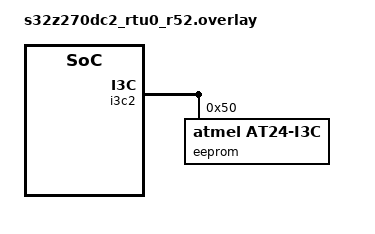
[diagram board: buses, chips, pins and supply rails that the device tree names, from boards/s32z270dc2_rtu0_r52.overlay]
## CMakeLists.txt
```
# Copyright 2022 NXP
#
# SPDX-License-Identifier: Apache-2.0
#

cmake_minimum_required(VERSION 3.20.0)

find_package(Zephyr REQUIRED HINTS $ENV{ZEPHYR_BASE})
project(i3c_at24c01_eeprom)

target_sources(app PRIVATE src/main.c)
```

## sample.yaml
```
# Copyright 2022 NXP
# SPDX-License-Identifier: Apache-2.0

sample:
  name: Sample for communitcate Microchip AT24C01C-XHM EEPROM through I3C driver.
tests:
  sample.boards.nxp_s32.i3c.at24c01c.eeprom:
    tags: i3c
    platform_allow: s32z270dc2_rtu0_r52 s32z270dc2_rtu1_r52
    harness: console
    harness_config:
        type: one_line
        regex:
            - "EEPROM read/write successful"
```

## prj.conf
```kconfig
# Copyright 2022 NXP
#
# SPDX-License-Identifier: Apache-2.0
#

CONFIG_I3C=y
```

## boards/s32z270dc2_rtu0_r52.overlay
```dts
/*
 * Copyright 2022 NXP
 *
 * SPDX-License-Identifier: Apache-2.0
 */

/* Pins 3 and 5, 4 and 6 of J32 must be connected on the board */
&pinctrl {
	i3c2_default: i3c2_default {
		group1 {
			pinmux = <(PJ11_I3C_2_SDA0_I | PJ11_I3C_2_SDA0_O)>,
				<(PJ10_I3C_2_SCL_I | PJ10_I3C_2_SCL_O)>;
			input-enable;
			output-enable;
			drive-open-drain;
		};
	};
};

&i3c2 {
	/* Just configure to reach i2c rate around 400Khz */
	i2c-scl-hz = <400000>;
	i3c-scl-hz = <6000000>;
	i3c-od-scl-hz = <2000000>;

	pinctrl-0 = <&i3c2_default>;
	pinctrl-names = "default";
	status = "okay";

	eeprom: eeprom@500000000000000050 {
		compatible = "atmel,at24-i3c";
		reg = <0x50 00 0x50>;
	};
};
```

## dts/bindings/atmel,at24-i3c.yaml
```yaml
# Copyright 2022 NXP
# SPDX-License-Identifier: Apache-2.0

description: Atmel AT24 (or compatible) I2C EEPROM on I3C bus

compatible: "atmel,at24-i3c"

include: [i3c-device.yaml]
```

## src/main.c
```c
/*
 * Copyright 2022 NXP
 *
 * SPDX-License-Identifier: Apache-2.0
 */

#include <zephyr/drivers/i3c.h>
#include <zephyr/device.h>
#include <string.h>

/**
 * @file Sample app using the Microchip AT24C01C-XHM EEPROM through I3C driver.
 */

#define I3C_DEV_NODE	DT_NODELABEL(i3c2)
#define I2C_SLAVE_ADDR	0x50

/* Starting EEP address for writing to / reading from */
#define EEP_START_ADDR 0x10
#define NUM_BYTES	20

uint8_t read_data[NUM_BYTES];

#define DATA_TO_WRITE(n, _) (n + 1)

uint8_t data_to_write[NUM_BYTES] = {
	LISTIFY(NUM_BYTES, DATA_TO_WRITE, (,))
};

static int write_bytes(const struct device *dev, uint8_t addr, uint8_t *data, uint8_t num_bytes)
{
	uint8_t i, curr_addr;
	int err;

	uint8_t write_buf[2];
	struct i2c_msg msg[2];

	err = 0;
	curr_addr = addr;

	for (i = 0; i < num_bytes; i++) {

		write_buf[0] = curr_addr;
		write_buf[1] = data[i];

		msg[0].buf = write_buf;
		msg[0].len = 2;
		msg[0].flags = I2C_MSG_WRITE | I2C_MSG_STOP;

		err = i2c_transfer(dev, msg, 1, I2C_SLAVE_ADDR);
		if (err) {
			break;
		}

		curr_addr++;

		k_sleep(K_MSEC(2));
	}

	return err;
}

static int read_bytes(const struct device *dev, uint8_t addr, uint8_t *data, uint8_t num_bytes)
{
	uint8_t i, curr_addr;
	int err;
	struct i2c_msg msg[2];

	err = 0;
	curr_addr = addr;

	/* Read data */
	for (i = 0; i < num_bytes; i++) {

		/* Send a byte that contain the memory address will be read */
		msg[0].buf = &curr_addr;
		msg[0].len = 1;
		msg[0].flags = I2C_MSG_WRITE;

		msg[1].buf = &data[i];
		msg[1].len = 1;
		msg[1].flags = I2C_MSG_READ | I2C_MSG_STOP;

		err = i2c_transfer(dev, msg, 2, I2C_SLAVE_ADDR);
		if (err) {
			break;
		}

		curr_addr++;

		k_sleep(K_MSEC(2));
	}

	return err;
}

void main(void)
{
	const struct device *i3c_dev;
	int err;

	i3c_dev = DEVICE_DT_GET(I3C_DEV_NODE);

	if (!i3c_dev) {
		printk("Cannot get device\n");
		return;
	}

	if (!device_is_ready(i3c_dev)) {
		printk("Device is not ready\n");
		return;
	}

	err = write_bytes(i3c_dev, EEP_START_ADDR, &data_to_write[0], 1);
	if (err) {
		printk("Error writing a byte to EEPROM, error code (%d)\n", err);
		return;
	}

	printk("Wrote 0x%X to address 0x%X\n", data_to_write[0], EEP_START_ADDR);

	err = read_bytes(i3c_dev, EEP_START_ADDR, &read_data[0], 1);
	if (err) {
		printk("Error reading a byte from EEPROM, error code (%d)\n", err);
		return;
	}

	printk("Read 0x%X from address 0x%X\n", read_data[0], EEP_START_ADDR);

	/* Compare data */
	if (memcmp(read_data, data_to_write, 1)) {
		printk("Sent and received data is not the same");
		return;
	}

	err = write_bytes(i3c_dev, EEP_START_ADDR, data_to_write, NUM_BYTES);
	if (err) {
		printk("Error writing %d bytes to EEPROM, error code (%d)\n", NUM_BYTES, err);
		return;
	}

	printk("Wrote %d bytes to address starting from 0x%X\n",
			NUM_BYTES, EEP_START_ADDR);

	err = read_bytes(i3c_dev, EEP_START_ADDR, read_data, NUM_BYTES);
	if (err) {
		printk("Error reading %d bytes from EEPROM! error code (%d)\n", NUM_BYTES, err);
		return;
	}

	printk("Read %d bytes from starting address 0x%X\n",
			NUM_BYTES, EEP_START_ADDR);

	/* Compare data */
	if (memcmp(read_data, data_to_write, NUM_BYTES)) {
		printk("Sent and received data is not the same");
		return;
	}

	printk("EEPROM read/write successful\n");
}
```
